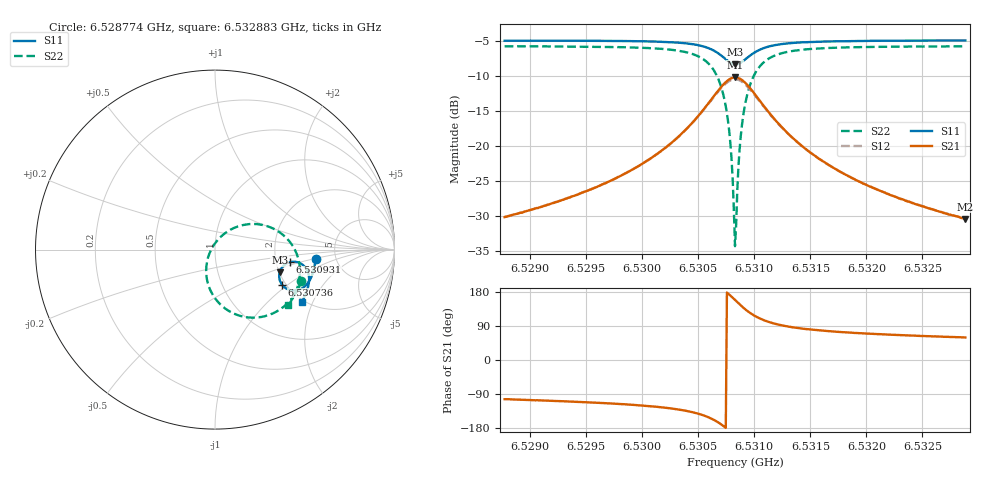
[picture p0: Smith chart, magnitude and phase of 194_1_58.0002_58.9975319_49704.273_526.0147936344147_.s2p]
#  HZ  S  RI  R  50.00
! Rohde & Schwarz Vector Network Analyzer
! Rohde-Schwarz,ZNB20-2Port,1311601062101988,3.16
! Created: UTC 3/21/2024, 12:58:57 AM
! freq[Hz]  re:S11  im:S11  re:S21  im:S21  re:S12  im:S12  re:S22  im:S22
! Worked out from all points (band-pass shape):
!   401 points, 6.528774 GHz to 6.532883 GHz, reference 50 ohm
!   highest |S21| = -10.24 dB at 6.530828 GHz (marker M1); lowest = -30.4 dB at 6.532883 GHz (marker M2)
!   |S21| within 3 dB of the highest: 6.530624 GHz to 6.531035 GHz (410.9 kHz wide, 0.00629 % of centre)
!   lowest |S11| = -8.4 dB at 6.530828 GHz (marker M3), VSWR 2.23, Z = 101 - j29.6 ohm
!   |S11| at or under -10 dB: nowhere
!   |S22| runs from -34.3 to -5.8 dB; largest |S21 - S12| = 0.012
!   S11 on the Smith chart (normalised r, x): 6.528774 GHz: 3.49, -0.51; 6.530736 GHz: 1.91, -0.91; 6.530931 GHz: 2.37, -0.41; 6.532883 GHz: 1.92, -1.66
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6.5287737e9  0.5605 -0.0498  -0.00727 -0.0303  -0.0079 -0.0303  0.4815 -0.1775
6.5294619e9  0.5512 -0.1075  -0.0167 -0.0433  -0.0176 -0.043  0.4497 -0.2409
6.5301502e9  0.5242 -0.1767  -0.0503 -0.0744  -0.0524 -0.0729  0.3671 -0.3297
6.5303865e9  0.4977 -0.2072  -0.0902 -0.0937  -0.093 -0.0907  0.2859 -0.3688
6.5305611e9  0.4541 -0.2272  -0.1583 -0.1006  -0.1609 -0.094  0.1596 -0.3739
6.5306638e9  0.4091 -0.2225  -0.2283 -0.0743  -0.2275 -0.0644  0.0423 -0.3167
6.5307357e9  0.3735 -0.1955  -0.2799 -0.0156  -0.2739 -0.00536  -0.0333 -0.2082
6.5307768e9  0.3601 -0.1677  -0.2959 0.0376  -0.2868 0.0458  -0.0494 -0.1172
6.5307871e9  0.3585 -0.1595  -0.297 0.0525  -0.2872 0.0599  -0.0481 -0.0926
6.5308179e9  0.3586 -0.1341  -0.2911 0.0982  -0.2801 0.103  -0.0298 -0.0187
6.5308282e9  0.3604 -0.1257  -0.2861 0.113  -0.275 0.1168  -0.0188 0.00463
6.5308385e9  0.3632 -0.1175  -0.2798 0.1275  -0.2686 0.1302  -0.00552 0.0269
6.5308487e9  0.3669 -0.1097  -0.2721 0.1411  -0.2609 0.1427  0.00993 0.0475
6.5308693e9  0.3764 -0.0956  -0.253 0.1652  -0.2425 0.1651  0.0455 0.0833
6.5308898e9  0.3882 -0.0842  -0.2306 0.1847  -0.221 0.1832  0.086 0.1107
6.5309309e9  0.4152 -0.0705  -0.1816 0.208  -0.1745 0.2048  0.1711 0.1397
6.5310028e9  0.4583 -0.0697  -0.1058 0.21  -0.1023 0.207  0.298 0.1281
6.5311055e9  0.4963 -0.0915  -0.0408 0.179  -0.0391 0.1774  0.4027 0.0597
6.5312596e9  0.5186 -0.1274  -0.00146 0.1324  -0.000135 0.1317  0.4597 -0.0361
6.5315164e9  0.5243 -0.1709  0.0153 0.0865  0.0165 0.0862  0.4733 -0.1338
6.5322047e9  0.5071 -0.2425  0.0177 0.0416  0.0185 0.0413  0.4438 -0.2496
6.5328827e9  0.482 -0.2939  0.0154 0.0261  0.016 0.0258  0.4088 -0.3093
